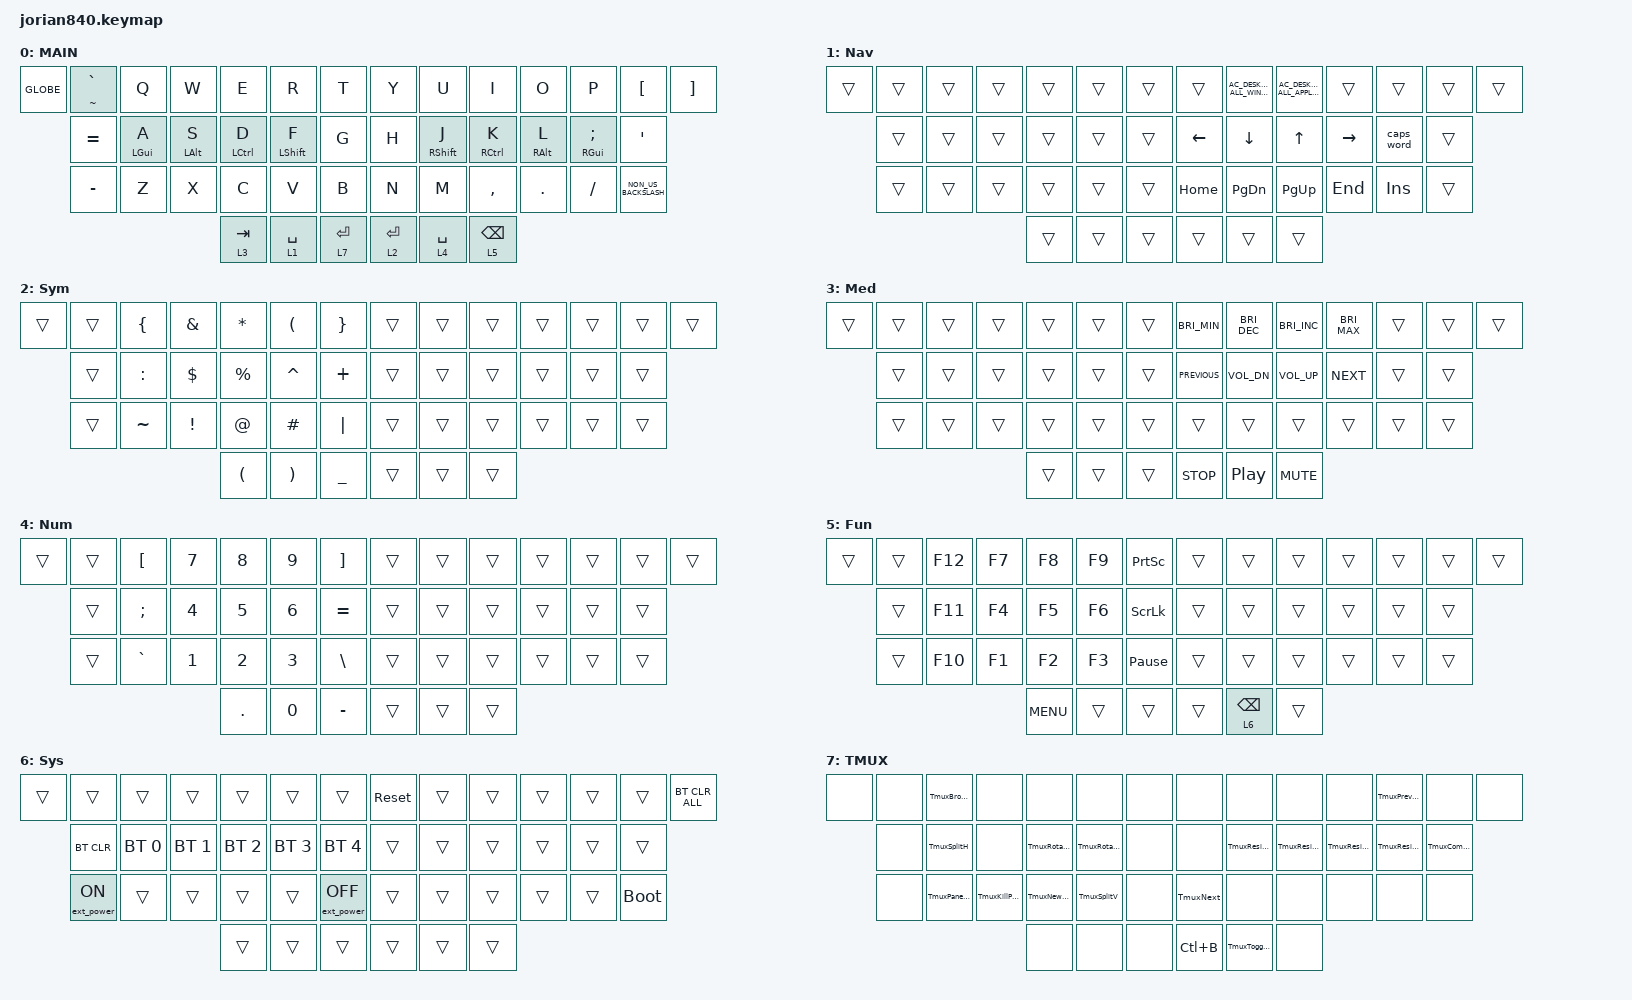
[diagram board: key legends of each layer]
/*
 * Copyright (c) 2020 The ZMK Contributors
 *
 * SPDX-License-Identifier: MIT
 */

#include <behaviors.dtsi>
#include <dt-bindings/zmk/bt.h>
#include <dt-bindings/zmk/ext_power.h>
#include <dt-bindings/zmk/keys.h>

#define DEF 0
#define LWR 1
#define RSE 2
#define CDE 3
#define ADJ 4

&lt { quick-tap-ms = <200>; };

&mt {
    quick-tap-ms = <200>;
    flavor = "balanced";
};

&caps_word {
};

/ {
    combos {
        compatible = "zmk,combos";

        esc {
            bindings = <&kp ESCAPE>;
            key-positions = <21 22>;
            timeout-ms = <50>;
            layers = <0>;
        };

        smart_caps {
            bindings = <&caps_word>;
            key-positions = <4 5>;
        };
    };

    macros {
        TmuxNewWindow: Sequence {
            compatible = "zmk,behavior-macro";
            #binding-cells = <0>;
            bindings = <&kp LC(B) &kp C>;
            label = "SEQUENCE";
        };

        TmuxNext: TmuxNext {
            compatible = "zmk,behavior-macro";
            #binding-cells = <0>;
            bindings = <&kp LC(B) &kp N>;
            label = "TMUXNEXT";
        };

        TmuxPrevious: TmuxPrevious {
            compatible = "zmk,behavior-macro";
            #binding-cells = <0>;
            bindings = <&kp LC(B) &kp P>;
            label = "TMUXPREVIOUS";
        };

        TmuxKillPane: TmuxKillPane {
            compatible = "zmk,behavior-macro";
            #binding-cells = <0>;
            bindings = <&kp LC(B) &kp X>;
            label = "TMUXKILLPANE";
        };

        TmuxBrowse: TmuxBrowse {
            compatible = "zmk,behavior-macro";
            #binding-cells = <0>;
            bindings = <&kp LC(B) &kp W>;
            label = "TMUXBROWSE";
        };

        TmuxPaneZoom: TmuxPaneZoom {
            compatible = "zmk,behavior-macro";
            #binding-cells = <0>;
            bindings = <&kp LC(B) &kp Z>;
            label = "TMUXPANEZOOM";
        };

        TmuxResizeLeft: TmuxResizeLeft {
            compatible = "zmk,behavior-macro";
            #binding-cells = <0>;
            bindings = <&kp LC(B) &kp LS(H)>;
            label = "TMUXRESIZELEFT";
        };

        TmuxResizeRight: TmuxResizeRight {
            compatible = "zmk,behavior-macro";
            #binding-cells = <0>;
            bindings = <&kp LC(B) &kp LS(L)>;
            label = "TMUXRESIZERIGHT";
        };

        TmuxRotateRight: TmuxRotate {
            compatible = "zmk,behavior-macro";
            #binding-cells = <0>;
            bindings = <&kp LC(B) &kp RIGHT_BRACE>;
            label = "TMUXROTATE";
        };

        TmuxToggleLayout: TmuxToggleLayout {
            compatible = "zmk,behavior-macro";
            #binding-cells = <0>;
            bindings = <&kp LC(B) &kp SPACE>;
            label = "TMUXTOGGLELAYOUT";
        };

        TmuxCommand: TmuxCommand {
            compatible = "zmk,behavior-macro";
            #binding-cells = <0>;
            bindings = <&kp LC(B) &kp COLON>;
            label = "TMUXCOMMAND";
        };

        TmuxRotateLeft: TmuxRotateLeft {
            compatible = "zmk,behavior-macro";
            #binding-cells = <0>;
            bindings = <&kp LC(B) &kp LEFT_BRACE>;
            label = "TMUXROTATELEFT";
        };

        TmuxResizeUp: TmuxResizeUp {
            compatible = "zmk,behavior-macro";
            #binding-cells = <0>;
            bindings = <&kp LC(B) &kp LS(K)>;
            label = "TMUXRESIZEUP";
        };

        TmuxResizeDown: TmuxResizeDown {
            compatible = "zmk,behavior-macro";
            #binding-cells = <0>;
            bindings = <&kp LC(B) &kp LC(J)>;
            label = "TMUXRESIZEDOWN";
        };

        TmuxSplitH: TmuxSplitH {
            compatible = "zmk,behavior-macro";
            #binding-cells = <0>;
            bindings = <&kp LC(B) &kp DOUBLE_QUOTES>;
            label = "TMUXSPLITH";
        };

        TmuxSplitV: TmuxSplitV {
            compatible = "zmk,behavior-macro";
            #binding-cells = <0>;
            bindings = <&kp LC(B) &kp PERCENT>;
            label = "TMUXSPLITV";
        };
    };

    keymap {
        compatible = "zmk,keymap";

        default_layer {
            label = "MAIN";
            bindings = <
&kp GLOBE  &mt TILDE GRAVE  &kp Q           &kp W           &kp E        &kp R             &kp T            &kp Y        &kp U              &kp I            &kp O            &kp P               &kp LBKT              &kp RIGHT_BRACKET
           &kp EQUAL        &mt LEFT_GUI A  &mt LEFT_ALT S  &mt LCTRL D  &mt LEFT_SHIFT F  &kp G            &kp H        &mt RIGHT_SHIFT J  &mt RCTRL K      &mt RIGHT_ALT L  &mt RGUI SEMICOLON  &kp SQT
           &kp MINUS        &kp Z           &kp X           &kp C        &kp V             &kp B            &kp N        &kp M              &kp COMMA        &kp DOT          &kp FSLH            &kp NON_US_BACKSLASH
                                                            &lt 3 TAB    &lt 1 SPACE       &lt 7 ENTER      &lt 2 ENTER  &lt 4 SPACE        &lt 5 BACKSPACE
            >;
        };

        Navigation {
            bindings = <
&trans  &trans  &trans  &trans  &trans  &trans  &trans      &trans          &kp C_AC_DESKTOP_SHOW_ALL_WINDOWS  &kp C_AC_DESKTOP_SHOW_ALL_APPLICATIONS  &trans     &trans      &trans  &trans
        &trans  &trans  &trans  &trans  &trans  &trans      &kp LEFT_ARROW  &kp DOWN_ARROW                     &kp UP_ARROW                            &kp RIGHT  &caps_word  &trans
        &trans  &trans  &trans  &trans  &trans  &trans      &kp HOME        &kp PAGE_DOWN                      &kp PAGE_UP                             &kp END    &kp INSERT  &trans
                                &trans  &trans  &trans      &trans          &trans                             &trans
            >;

            label = "Nav";
        };

        Symbols {
            bindings = <
&trans  &trans  &kp LEFT_BRACE  &kp AMPS         &kp ASTERISK          &kp LEFT_PARENTHESIS   &kp RIGHT_BRACE      &trans  &trans  &trans  &trans  &trans  &trans  &trans
        &trans  &kp COLON       &kp DOLLAR       &kp PERCENT           &kp CARET              &kp PLUS             &trans  &trans  &trans  &trans  &trans  &trans
        &trans  &kp TILDE       &kp EXCLAMATION  &kp AT_SIGN           &kp HASH               &kp PIPE             &trans  &trans  &trans  &trans  &trans  &trans
                                                 &kp LEFT_PARENTHESIS  &kp RIGHT_PARENTHESIS  &kp UNDERSCORE       &trans  &trans  &trans
            >;

            label = "Sym";
        };

        Media {
            bindings = <
&trans  &trans  &trans  &trans  &trans  &trans  &trans      &kp C_BRI_MIN   &kp C_BRIGHTNESS_DEC  &kp C_BRIGHTNESS_INC  &kp C_BRI_MAX  &trans  &trans  &trans
        &trans  &trans  &trans  &trans  &trans  &trans      &kp C_PREVIOUS  &kp C_VOL_DN          &kp C_VOL_UP          &kp C_NEXT     &trans  &trans
        &trans  &trans  &trans  &trans  &trans  &trans      &trans          &trans                &trans                &trans         &trans  &trans
                                &trans  &trans  &trans      &kp C_STOP      &kp C_PP              &kp C_MUTE
            >;

            label = "Med";
        };

        Numbers {
            bindings = <
&trans  &trans  &kp LBKT   &kp N7  &kp N8   &kp N9  &kp RBKT       &trans  &trans  &trans  &trans  &trans  &trans  &trans
        &trans  &kp SEMI   &kp N4  &kp N5   &kp N6  &kp EQUAL      &trans  &trans  &trans  &trans  &trans  &trans
        &trans  &kp GRAVE  &kp N1  &kp N2   &kp N3  &kp BSLH       &trans  &trans  &trans  &trans  &trans  &trans
                                   &kp DOT  &kp N0  &kp MINUS      &trans  &trans  &trans
            >;

            label = "Num";
        };

        Functions {
            bindings = <
&trans  &trans  &kp F12  &kp F7  &kp F8      &kp F9  &kp PRINTSCREEN      &trans  &trans           &trans  &trans  &trans  &trans  &trans
        &trans  &kp F11  &kp F4  &kp F5      &kp F6  &kp SCROLLLOCK       &trans  &trans           &trans  &trans  &trans  &trans
        &trans  &kp F10  &kp F1  &kp F2      &kp F3  &kp PAUSE_BREAK      &trans  &trans           &trans  &trans  &trans  &trans
                                 &kp K_MENU  &trans  &trans               &trans  &lt 6 BACKSPACE  &trans
            >;

            label = "Fun";
        };

        System {
            bindings = <
&trans  &trans            &trans        &trans        &trans        &trans        &trans                 &sys_reset  &trans  &trans  &trans  &trans  &trans       &bt BT_CLR_ALL
        &bt BT_CLR        &bt BT_SEL 0  &bt BT_SEL 1  &bt BT_SEL 2  &bt BT_SEL 3  &bt BT_SEL 4           &trans      &trans  &trans  &trans  &trans  &trans
        &ext_power EP_ON  &trans        &trans        &trans        &trans        &ext_power EP_OFF      &trans      &trans  &trans  &trans  &trans  &bootloader
                                                      &trans        &trans        &trans                 &trans      &trans  &trans
            >;

            label = "Sys";
        };

        TMUX {
            bindings = <
&none  &none  &TmuxBrowse    &none          &none            &none             &none      &none      &none              &none            &none          &TmuxPrevious     &none         &none
       &none  &TmuxSplitH    &none          &TmuxRotateLeft  &TmuxRotateRight  &none      &none      &TmuxResizeLeft    &TmuxResizeDown  &TmuxResizeUp  &TmuxResizeRight  &TmuxCommand
       &none  &TmuxPaneZoom  &TmuxKillPane  &TmuxNewWindow   &TmuxSplitV       &none      &TmuxNext  &none              &none            &none          &none             &none
                                            &none            &none             &none      &kp LC(B)  &TmuxToggleLayout  &none
            >;
        };
    };
};
